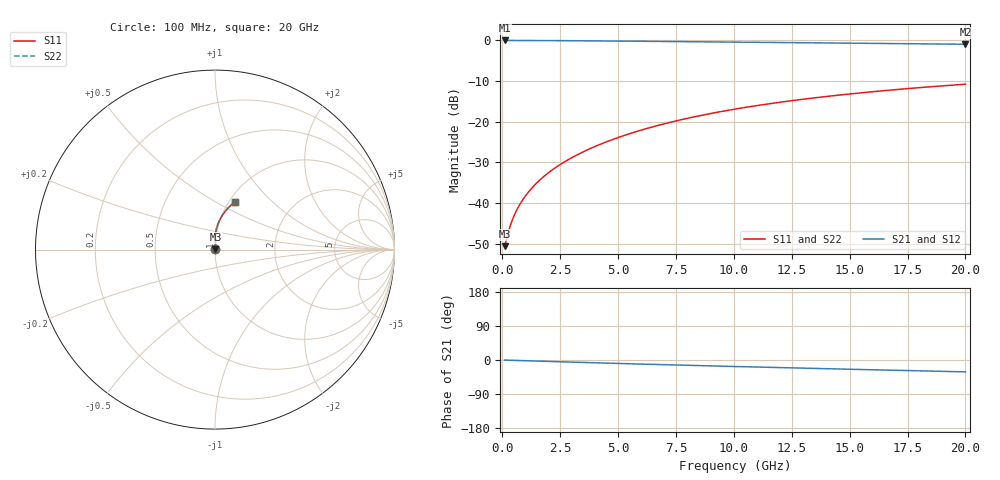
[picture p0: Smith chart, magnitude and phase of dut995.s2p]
! Touchstone file exported from HFSS 2024.1.0
!  File:  C:/UserFiles/LocalFiles/RDL_TSV_Batchsim/temp_RDL_top_995_1779939796.aedt
!  Generated:  11:45:47 AM May 28, 2026
!  Design:  RDL_top
!  Project:  temp_RDL_top_995_1779939796
!  Setup:  Setup1
!  Solution:  Sweep
! Variables:
!  dtsv = 10.80580581um
!  hbump = 3um
!  htsv = 60.01um
!  ldown = 100um
!  lrdl = 428.14um
!  p = 40
!  p1 = 53.18um
!  rhole = 1um
!  t = 450um
!  tdown = 3.915915916um
!  trdl = 2.42um
!  wdown = 15.38538539um
!  wrdl = 27.41um
# GHz S MA R 50.000000
! Terminal data exported
! Port[1] = Box2_T1
! Port[2] = Box2_T2
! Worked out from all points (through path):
!   200 points, 100 MHz to 20 GHz, reference 50 ohm
!   highest |S21| = -0.02 dB at 100 MHz (marker M1); lowest = -1.0 dB at 20 GHz (marker M2)
!   group delay of S21, straight-line fit = 4.3 ps
!   lowest |S11| = -50.6 dB at 100 MHz (marker M3), VSWR 1.01, Z = 50.3 + j0.134 ohm
!   |S11| at or under -10 dB: start of sweep to end of sweep
!   |S22| runs from -50.6 to -10.8 dB; largest |S21 - S12| = 4.1e-15
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0.1  0.002962 26.8  0.9973 -0.2  0.9973 -0.2  0.002962 26.8
! Gamma 0 0 0 0
! Port Impedance 50 0 50 0
0.3  0.004811 53.6  0.997 -0.6  0.997 -0.6  0.004811 53.6
0.4  0.005868 59.7  0.9969 -0.8  0.9969 -0.8  0.005868 59.7
0.5  0.006929 63.9  0.9967 -1.0  0.9967 -1.0  0.006929 63.9
0.6  0.00799 67.0  0.9965 -1.2  0.9965 -1.2  0.00799 67.0
0.8  0.01012 71.7  0.9961 -1.5  0.9961 -1.5  0.01012 71.7
1  0.01228 75.1  0.9958 -1.9  0.9958 -1.9  0.01228 75.1
1.2  0.01449 77.7  0.9954 -2.3  0.9954 -2.3  0.01449 77.7
1.7  0.02018 82.0  0.9942 -3.2  0.9942 -3.2  0.02018 82.0
2.2  0.02613 84.7  0.9927 -4.2  0.9927 -4.2  0.02613 84.7
2.8  0.03361 86.8  0.9906 -5.3  0.9906 -5.3  0.03361 86.8
3.5  0.04279 88.2  0.9877 -6.5  0.9877 -6.5  0.04278 88.2
4.2  0.05243 88.9  0.9844 -7.7  0.9844 -7.7  0.05243 88.9
5  0.06397 89.1  0.9803 -9.1  0.9803 -9.1  0.06396 89.1
5.9  0.07747 88.8  0.9754 -10.6  0.9754 -10.6  0.07746 88.8
6.8  0.09139 88.0  0.9703 -12.1  0.9703 -12.1  0.09138 88.0
8.4  0.1167 86.0  0.9612 -14.6  0.9612 -14.6  0.1167 86.0
10.1  0.1438 83.4  0.9515 -17.2  0.9515 -17.2  0.1438 83.4
11.7  0.1691 80.7  0.9424 -19.6  0.9424 -19.6  0.1691 80.7
13.4  0.1954 77.8  0.9329 -22.1  0.9329 -22.1  0.1954 77.8
16.7  0.2441 72.3  0.9143 -26.8  0.9143 -26.8  0.2441 72.3
20  0.2893 67.1  0.8956 -31.3  0.8956 -31.3  0.2892 67.1
